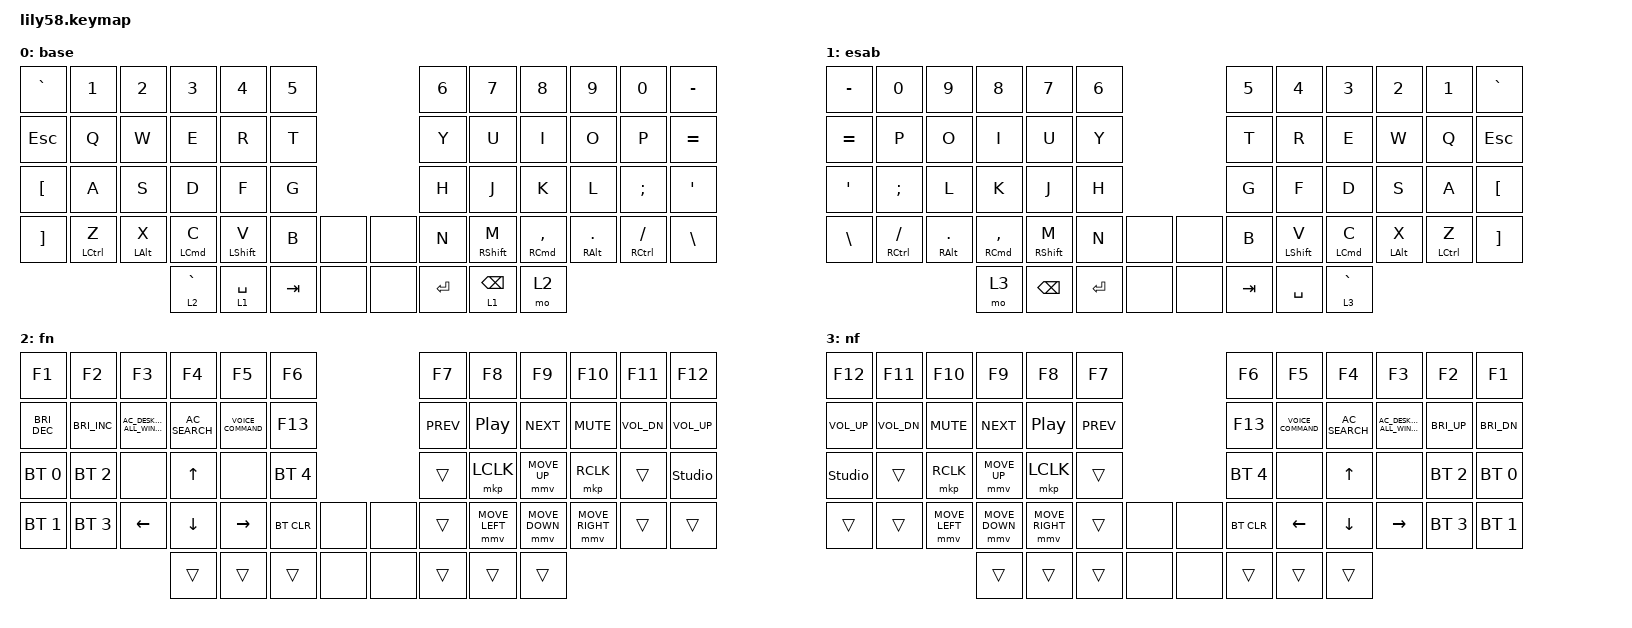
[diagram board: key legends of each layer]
#include <behaviors.dtsi>
#include <dt-bindings/zmk/bt.h>
#include <dt-bindings/zmk/keys.h>
#include <dt-bindings/zmk/pointing.h>

/ {
    behaviors {
        #include "macros.dtsi"

        hm: homerow_mods {
            compatible = "zmk,behavior-hold-tap";
            label = "HOMEROW_MODS";
            #binding-cells = <2>;
            tapping-term-ms = <200>;
            quick_tap_ms = <175>;
            flavor = "tap-preferred";
            bindings = <&kp>, <&kp>;
        };

        hml: home_mod_left {
            compatible = "zmk,behavior-hold-tap";
            label = "HOME_MOD_LEFT";
            #binding-cells = <2>;
            flavor = "balanced";
            tapping-term-ms = <200>;
            quick-tap-ms = <175>;
            require-prior-idle-ms = <150>;
            bindings = <&kp>, <&kp>;

            // Triggers on Left Side Keys

            hold-trigger-key-positions = <
                // 0 1 2 3 4 5  // 1st row left
                6 7 8 9 10 11  // 1st row right
                // 12 13 14 15 16 17  // 2nd row left
                18 19 20 21 22 23  // 2nd row right
                // 24 25 26 27 28 29  // 3rd row left
                30 31 32 33 34 35  // 3rd row right
                // 36 37 38 39 40 41 42  // 4th row left
                37 38 39 40  // 4th row left mod
                43 44 45 46 47 48 49  // 4th row right
                50 51 52 53  // thumb cluster left
                54 55 56 57  // thumb cluster right
            >;
        };

        hmr: home_mod_right {
            compatible = "zmk,behavior-hold-tap";
            label = "HOME_MOD_RIGHT";
            #binding-cells = <2>;
            flavor = "balanced";
            tapping-term-ms = <200>;
            quick-tap-ms = <175>;
            require-prior-idle-ms = <150>;
            bindings = <&kp>, <&kp>;

            // Triggers on Right Side Keys

            hold-trigger-key-positions = <
                0 1 2 3 4 5  // 1st row left
                // 6 7 8 9 10 11  // 1st row right
                12 13 14 15 16 17  // 2nd row left
                // 18 19 20 21 22 23  // 2nd row right
                24 25 26 27 28 29  // 3rd row left
                // 30 31 32 33 34 35  // 3rd row right
                36 37 38 39 40 41 42  // 4th row left
                // 43 44 45 46 47 48 49  // 4th row right
                45 46 47 48  // 4th row right mod
                50 51 52 53  // thumb cluster left
                54 55 56 57  // thumb cluster right
            >;
        };

        mlr: mirror_layer_right {
            compatible = "zmk,behavior-hold-tap";
            label = "MIRROR_LAYER_RIGHT";
            #binding-cells = <2>;
            flavor = "tap-preferred";
            tapping-term-ms = <200>;
            quick-tap-ms = <175>;
            bindings = <&mo>, <&kp>;

            // Triggers on Right Side Keys

            hold-trigger-key-positions = <
                // 0 1 2 3 4 5  // 1st row left
                6 7 8 9 10 11  // 1st row right
                // 12 13 14 15 16 17  // 2nd row left
                18 19 20 21 22 23  // 2nd row right
                // 24 25 26 27 28 29  // 3rd row left
                30 31 32 33 34 35  // 3rd row right
                // 36 37 38 39 40 41 42  // 4th row left
                43 44 45 46 47 48 49  // 4th row right
                // 50 51 52 53  // thumb cluster left
                54 55 56 57  // thumb cluster right
            >;
        };

        mll: mirror_layer_left {
            compatible = "zmk,behavior-hold-tap";
            label = "MIRROR_LAYER_LEFT";
            #binding-cells = <2>;
            flavor = "tap-preferred";
            tapping-term-ms = <200>;
            quick-tap-ms = <175>;
            bindings = <&mo>, <&kp>;

            // Triggers on Left Side Keys

            hold-trigger-key-positions = <
                0 1 2 3 4 5  // 1st row left
                // 6 7 8 9 10 11  // 1st row right
                12 13 14 15 16 17  // 2nd row left
                // 18 19 20 21 22 23  // 2nd row right
                24 25 26 27 28 29  // 3rd row left
                // 30 31 32 33 34 35  // 3rd row right
                36 37 38 39 40 41 42  // 4th row left
                // 43 44 45 46 47 48 49  // 4th row right
                50 51 52 53  // thumb cluster left
                // 54 55 56 57  // thumb cluster right
            >;
        };
    };

    keymap {
        compatible = "zmk,keymap";

        default_layer {
            display-name = "base";
            bindings = <
&kp GRAVE          &kp N1        &kp N2       &kp N3        &kp N4               &kp N5                        &kp N6        &kp N7                      &kp N8           &kp N9         &kp N0           &kp MINUS
&kp ESCAPE         &kp Q         &kp W        &kp E         &kp R                &kp T                         &kp Y         &kp U                       &kp I            &kp O          &kp P            &kp EQUAL
&kp LEFT_BRACKET   &kp A         &kp S        &kp D         &kp F                &kp G                         &kp H         &kp J                       &kp K            &kp L          &kp SEMI         &kp SQT
&kp RIGHT_BRACKET  &hml LCTRL Z  &hml LALT X  &hml LCMD C   &hml LSHFT V         &kp B         &none    &none  &kp N         &hmr RSHFT M                &hmr RCMD COMMA  &hmr RALT DOT  &hmr RCTRL FSLH  &kp BACKSLASH
                                              &mll 2 GRAVE  &mll 1 SPACE         &kp TAB       &none    &none  &kp ENTER     &mlr 1 BACKSPACE            &mo 2
            >;
        };

        layer_esab {
            display-name = "esab";
            bindings = <
&kp MINUS         &kp N0            &kp N9         &kp N8           &kp N7                      &kp N6                        &kp N5        &kp N4               &kp N3       &kp N2       &kp N1        &kp GRAVE
&kp EQUAL         &kp P             &kp O          &kp I            &kp U                       &kp Y                         &kp T         &kp R                &kp E        &kp W        &kp Q         &kp ESCAPE
&kp SINGLE_QUOTE  &kp SEMICOLON     &kp L          &kp K            &kp J                       &kp H                         &kp G         &kp F                &kp D        &kp S        &kp A         &kp LEFT_BRACKET
&kp BACKSLASH     &hml RCTRL SLASH  &hml RALT DOT  &hml RCMD COMMA  &hml RSHFT M                &kp N         &none    &none  &kp B         &hmr LSHFT V         &hmr LCMD C  &hmr LALT X  &hmr LCTRL Z  &kp RIGHT_BRACKET
                                                   &mo 3            &kp BACKSPACE            &kp ENTER     &none    &none  &kp TAB       &kp SPACE            &mlr 3 GRAVE
            >;
        };

        layer_fn {
            display-name = "fn";
            bindings = <
&kp F1                &kp F2                &kp F3                             &kp F4           &kp F5               &kp F6                        &kp F7      &kp F8            &kp F9          &kp F10          &kp F11       &kp F12
&kp C_BRIGHTNESS_DEC  &kp C_BRIGHTNESS_INC  &kp C_AC_DESKTOP_SHOW_ALL_WINDOWS  &kp C_AC_SEARCH  &kp C_VOICE_COMMAND  &kp F13                       &kp C_PREV  &kp C_PLAY_PAUSE  &kp C_NEXT      &kp C_MUTE       &kp C_VOL_DN  &kp C_VOL_UP
&bt BT_SEL 0          &bt BT_SEL 2          &none                              &kp UP           &none                &bt BT_SEL 4                  &trans      &mkp LCLK         &mmv MOVE_UP    &mkp RCLK        &trans        &studio_unlock
&bt BT_SEL 1          &bt BT_SEL 3          &kp LEFT                           &kp DOWN         &kp RIGHT            &bt BT_CLR    &none    &none  &trans      &mmv MOVE_LEFT    &mmv MOVE_DOWN  &mmv MOVE_RIGHT  &trans        &trans
                                                                               &trans           &trans               &trans        &none    &none  &trans      &trans            &trans
            >;
        };

        layer_nf {
            display-name = "nf";
            bindings = <
&kp F12         &kp F11       &kp F10         &kp F9          &kp F8           &kp F7                      &kp F6        &kp F5               &kp F4           &kp F3                             &kp F2        &kp F1
&kp C_VOL_UP    &kp C_VOL_DN  &kp C_MUTE      &kp C_NEXT      &kp C_PP         &kp C_PREV                  &kp F13       &kp C_VOICE_COMMAND  &kp C_AC_SEARCH  &kp C_AC_DESKTOP_SHOW_ALL_WINDOWS  &kp C_BRI_UP  &kp C_BRI_DN
&studio_unlock  &trans        &mkp RCLK       &mmv MOVE_UP    &mkp LCLK        &trans                      &bt BT_SEL 4  &none                &kp UP           &none                              &bt BT_SEL 2  &bt BT_SEL 0
&trans          &trans        &mmv MOVE_LEFT  &mmv MOVE_DOWN  &mmv MOVE_RIGHT  &trans      &none    &none  &bt BT_CLR    &kp LEFT             &kp DOWN         &kp RIGHT                          &bt BT_SEL 3  &bt BT_SEL 1
                                              &trans          &trans           &trans      &none    &none  &trans        &trans               &trans
            >;
        };
    };
};
